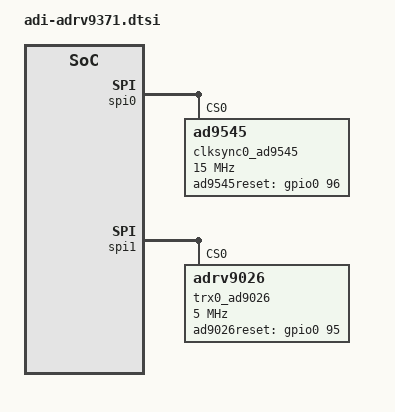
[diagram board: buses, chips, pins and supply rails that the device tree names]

#include <dt-bindings/iio/frequency/ad9528.h>



&spi0 {

	clksync0_ad9545: ad9545-lpc@0 {
			#address-cells = <1>;
			#size-cells = <0>;
			#clock-cells = <1>;
			compatible = "ad9545";
			reg = <0>;

			//spi-3wire;
			spi-max-frequency = <15000000>;

			ad9545reset-gpios = <&gpio0 96 0>;//EMIO42

			clock-output-names = "ad9545-1_out0", "ad9545-1_out1", "ad9545-1_out2";

/include/ "ad9545map.dtsi"

			ad9545_0_c0:channel@0 {
				reg = <0>;
				extended-name = "OUT0A";
				clock-frequency = <122880000>;
			};
			ad9545_0_c1:channel@1 {
				reg = <1>;
				extended-name = "OUT0B";
				clock-frequency = <153600000>;

			};
			ad9545_0_c2:channel@2 {
				reg = <2>;
				extended-name = "OUT0C";
				clock-frequency = <153600000>;

			};
			ad9545_0_c3:channel@3 {
				reg = <3>;
				extended-name = "OUT1A";
				clock-frequency = <25000000>;

			};
			ad9545_0_c4:channel@4 {
				reg = <4>;
				extended-name = "OUT1B";
				clock-frequency = <156250000>;

			};
	};



};

&spi1 {

	trx0_ad9026: ad9026-phy@0 {
			#address-cells = <1>;
			#size-cells = <0>;
			#clock-cells = <1>;
			compatible = "adrv9026";
			reg = <0>;

		
			spi-max-frequency = <5000000>;

			ad9026reset-gpios = <&gpio0 95 0>;//EMIO41
		};


};


